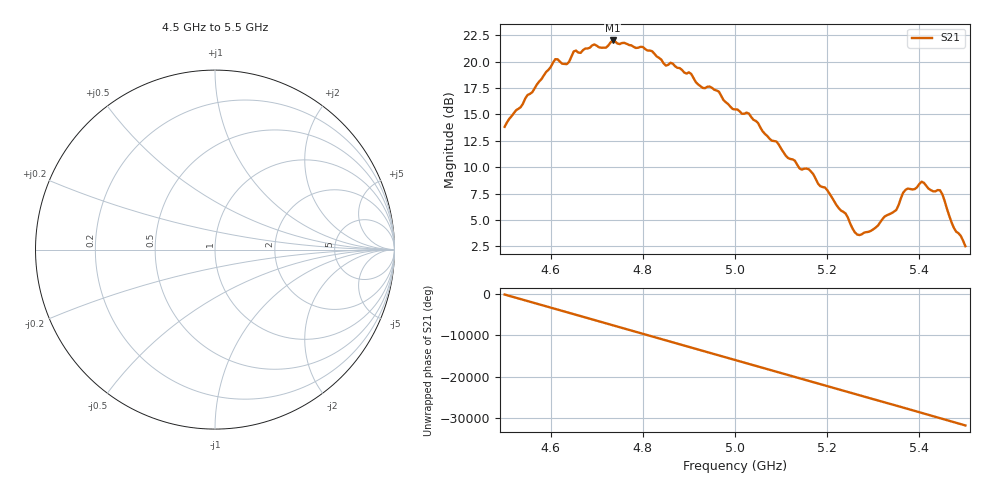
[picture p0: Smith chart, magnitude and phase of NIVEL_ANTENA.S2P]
!Agilent Technologies,E5071C,MY46102923,A.09.31
!Date: Wed Jan 03 05:34:55 2001
!Data & Calibration Information:
!Freq	S11:NONE(--)	S21:NONE(--)	S12:NONE(--)	S22:NONE(--)
# Hz S dB R 50
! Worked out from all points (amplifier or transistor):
!   201 points, 4.5 GHz to 5.5 GHz, reference 50 ohm
!   highest |S21| = 22.0 dB at 4.735 GHz (marker M1)
!   |S21| within 3 dB of that: 4.59 GHz to 4.889 GHz (299.4 MHz wide, 6.32 % of centre)
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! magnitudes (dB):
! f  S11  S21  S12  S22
! 4.5 GHz  -  13.8  -  -
! 4.61 GHz  -  20.2  -  -
! 4.635 GHz  -  19.8  -  -
! 4.65 GHz  -  21.0  -  -
! 4.67 GHz  -  21.1  -  -
! 4.735 GHz  -  22.0  -  -
! 4.835 GHz  -  20.4  -  -
! 4.9 GHz  -  19.0  -  -
! 4.93 GHz  -  17.5  -  -
! 4.965 GHz  -  17.2  -  -
! 5 GHz  -  15.5  -  -
! 5.03 GHz  -  15.1  -  -
! 5.115 GHz  -  10.9  -  -
! 5.17 GHz  -  9.3  -  -
! 5.265 GHz  -  3.6  -  -
! 5.335 GHz  -  5.6  -  -
! 5.35 GHz  -  5.9  -  -
! 5.37 GHz  -  7.8  -  -
! 5.405 GHz  -  8.6  -  -
! 5.445 GHz  -  7.8  -  -
! 5.475 GHz  -  4.3  -  -
! 5.5 GHz  -  2.5  -  -
